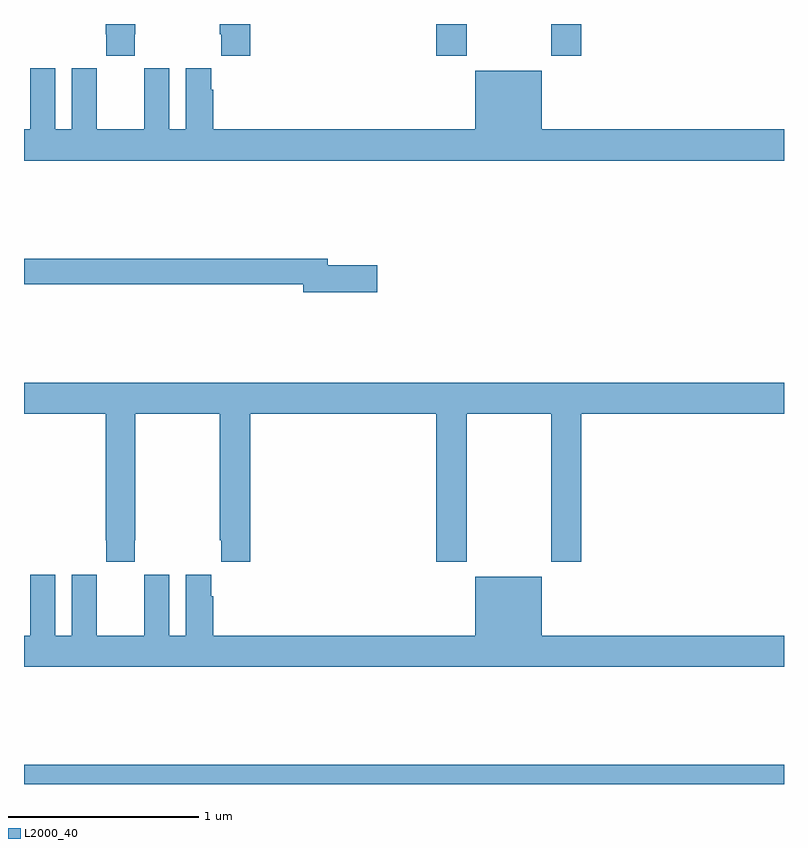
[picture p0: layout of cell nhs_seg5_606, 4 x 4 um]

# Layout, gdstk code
import gdstk
lib = gdstk.Library(unit=1e-6, precision=1e-09)
def R(c, l, rs):  # rectangles x0, y0, x1, y1
    for r in rs: c.add(gdstk.rectangle(r[:2], r[2:], *l))
def P(c, l, *ps):  # polygons
    for p in ps: c.add(gdstk.Polygon(p, *l))
L2000_40 = (2000, 40)

nhs_seg5_606 = lib.new_cell('nhs_seg5_606')
R(nhs_seg5_606, L2000_40, [(149,866.799,153,866.9), (151.169,870.633,151.329,870.799), (151.774,870.633,151.934,870.799)])
P(nhs_seg5_606, L2000_40, [(149.583,870.745),(149.586,870.745),(149.586,870.799),(149.431,870.799),(149.431,870.745),(149.433,870.745),(149.433,870.633),(149.583,870.633)],
  [(150.191,870.799),(150.031,870.799),(150.031,870.745),(150.037,870.745),(150.037,870.633),(150.191,870.633)],
  [(153,870.244),(151.726,870.244),(151.726,870.553),(151.376,870.553),(151.376,870.244),(149.996,870.244),(149.996,870.452),(149.986,870.452),(149.986,870.565),(149.852,870.565),(149.852,870.244),(149.764,870.244),(149.764,870.565),(149.634,870.565),(149.634,870.452),(149.633,870.452),(149.633,870.244),(149.383,870.244),(149.383,870.452),(149.382,870.452),(149.382,870.565),(149.252,870.565),(149.252,870.244),(149.164,870.244),(149.164,870.565),(149.034,870.565),(149.034,870.452),(149.033,870.452),(149.033,870.244),(149,870.244),(149,870.08),(153,870.08)],
  [(150.859,869.528),(150.598,869.528),(150.598,869.564),(149,869.564),(149,869.428),(150.47,869.428),(150.47,869.386),(150.859,869.386)],
  [(149.583,868.081),(149.586,868.081),(149.586,868.748),(150.031,868.748),(150.031,868.081),(150.037,868.081),(150.037,867.969),(150.191,867.969),(150.191,868.748),(151.169,868.748),(151.169,867.969),(151.329,867.969),(151.329,868.748),(151.774,868.748),(151.774,867.969),(151.934,867.969),(151.934,868.748),(153,868.748),(153,868.912),(149,868.912),(149,868.748),(149.431,868.748),(149.431,868.081),(149.433,868.081),(149.433,867.969),(149.583,867.969)],
  [(153,867.58),(151.726,867.58),(151.726,867.889),(151.376,867.889),(151.376,867.58),(149.996,867.58),(149.996,867.788),(149.986,867.788),(149.986,867.901),(149.852,867.901),(149.852,867.58),(149.764,867.58),(149.764,867.901),(149.634,867.901),(149.634,867.788),(149.633,867.788),(149.633,867.58),(149.383,867.58),(149.383,867.788),(149.382,867.788),(149.382,867.901),(149.252,867.901),(149.252,867.58),(149.164,867.58),(149.164,867.901),(149.034,867.901),(149.034,867.788),(149.033,867.788),(149.033,867.58),(149,867.58),(149,867.416),(153,867.416)])

lib.write_gds('nhs_seg5_606.gds')
